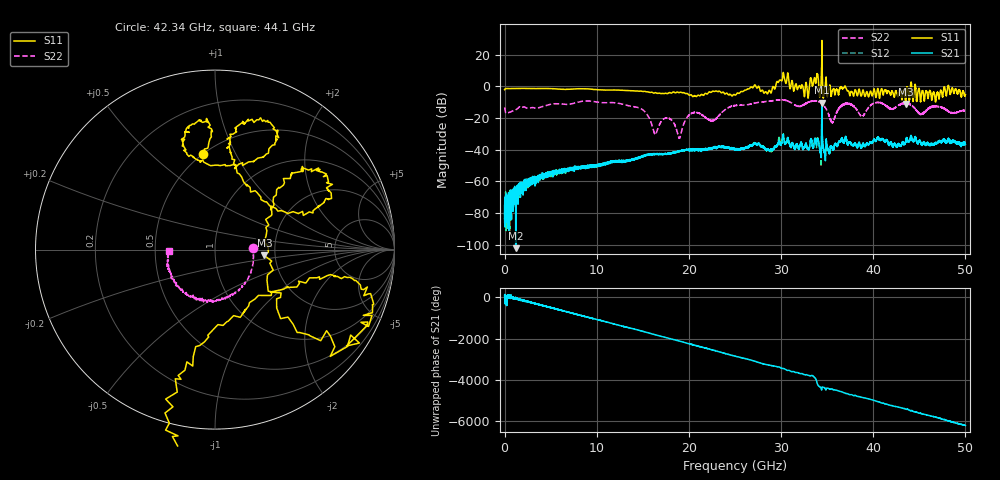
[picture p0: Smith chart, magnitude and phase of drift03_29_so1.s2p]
!Created with skrf (http://scikit-rf.org).
# Hz S RI R 50.0
!freq ReS11 ImS11 ReS21 ImS21 ReS12 ImS12 ReS22 ImS22
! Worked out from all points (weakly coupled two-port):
!   10000 points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, 5.3 MHz to 50 GHz, reference 50 ohm
!   highest |S21| = -10.29 dB at 34.43 GHz (marker M1); lowest = -102.3 dB at 1.21 GHz (marker M2)
!   lowest |S11| = -11.2 dB at 43.53 GHz (marker M3), VSWR 1.77, Z = 87.6 - j6.22 ohm
!   |S11| at or under -10 dB: 43.49327 GHz to 43.53442 GHz (41.15 MHz wide, 0.0946 % of centre); 43.53913 GHz to 43.54027 GHz (1.14 MHz wide, 0.00262 % of centre)
!   |S22| runs from -32.9 to -8.4 dB; largest |S21 - S12| = 0.099
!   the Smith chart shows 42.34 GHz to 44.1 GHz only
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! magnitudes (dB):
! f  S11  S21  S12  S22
! 5.3 MHz  -2.1  -83.8  -86.4  -13.3
! 1.21 GHz  -1.4  -102.3  -68.6  -14.8
! 8.34 GHz  -1.5  -50.8  -52.0  -9.5
! 14.55 GHz  -3.1  -45.0  -45.1  -13.5
! 16.67 GHz  -4.4  -42.6  -42.9  -26.1
! 17.81 GHz  -4.2  -42.3  -42.2  -20.1
! 18.98 GHz  -3.9  -41.0  -41.2  -32.8
! 20.28 GHz  -5.5  -40.2  -39.8  -17.1
! 22.57 GHz  -3.1  -38.7  -39.1  -22.0
! 25.01 GHz  -5.5  -40.0  -40.1  -12.1
! 28.72 GHz  -2.5  -40.6  -40.4  -9.3
! 30.14 GHz  4.5  -33.6  -33.9  -8.5
! 32.74 GHz  2.0  -36.8  -36.8  -10.7
! 33.34 GHz  2.6  -34.8  -35.1  -9.3
! 34.43 GHz  29.0  -10.3  -12.6  -10.9
! 35.54 GHz  -3.1  -38.7  -39.0  -23.1
! 36.97 GHz  0.1  -32.5  -32.8  -10.7
! 38.77 GHz  -5.2  -38.2  -38.1  -18.9
! 40.19 GHz  -3.7  -34.1  -34.2  -10.4
! 41.67 GHz  -3.0  -36.8  -36.9  -13.5
! 43.53 GHz  -11.2  -34.6  -34.9  -10.6
! 50 GHz  -5.2  -36.7  -37.0  -15.4
